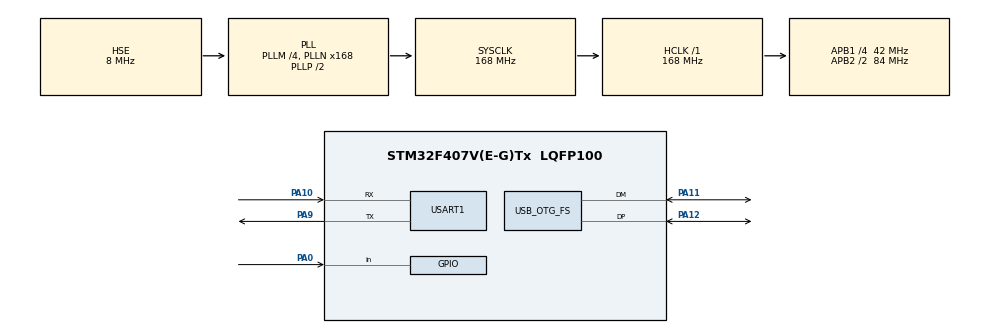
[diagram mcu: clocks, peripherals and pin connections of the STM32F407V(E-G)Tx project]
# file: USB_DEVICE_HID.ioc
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Mcu.Family=STM32F4
Mcu.Name=STM32F407V(E-G)Tx
Mcu.Package=LQFP100
NVIC.OTG_FS_IRQn=true\:0\:0\:false\:false\:true\:true\:true\:true
NVIC.PriorityGroup=NVIC_PRIORITYGROUP_4
PA0-WKUP.Signal=GPIO_Input
PA10.Mode=Asynchronous
PA10.Signal=USART1_RX
PA11.Mode=Device_Only
PA11.Signal=USB_OTG_FS_DM
PA12.Mode=Device_Only
PA12.Signal=USB_OTG_FS_DP
PA9.Mode=Asynchronous
PA9.Signal=USART1_TX
PH0-OSC_IN.Mode=HSE-External-Oscillator
PH0-OSC_IN.Signal=RCC_OSC_IN
PH1-OSC_OUT.Mode=HSE-External-Oscillator
PH1-OSC_OUT.Signal=RCC_OSC_OUT
ProjectManager.HeapSize=0x200
ProjectManager.StackSize=0x400
ProjectManager.TargetToolchain=MDK-ARM V5
RCC.48MHZClocksFreq_Value=48000000
RCC.AHBFreq_Value=168000000
RCC.APB1CLKDivider=RCC_HCLK_DIV4
RCC.APB1Freq_Value=42000000
RCC.APB1TimFreq_Value=84000000
RCC.APB2CLKDivider=RCC_HCLK_DIV2
RCC.APB2Freq_Value=84000000
RCC.APB2TimFreq_Value=168000000
RCC.CortexFreq_Value=168000000
RCC.HCLKFreq_Value=168000000
RCC.HSE_VALUE=8000000
RCC.HSI_VALUE=16000000
RCC.LSE_VALUE=32768
RCC.PLLM=4
RCC.PLLN=168
RCC.PLLQ=7
RCC.SYSCLKFreq_VALUE=168000000
RCC.SYSCLKSource=RCC_SYSCLKSOURCE_PLLCLK
RCC.VCOOutputFreq_Value=336000000
USART1.VirtualMode=VM_ASYNC
USB_DEVICE.CLASS_NAME-HID_FS=HID
USB_DEVICE.CLASS_NAME_FS=HID
USB_DEVICE.USBD_DEBUG_LEVEL-HID_FS=2
USB_DEVICE.USBD_HandleTypeDef-HID_FS=hUsbDeviceFS
USB_DEVICE.VirtualMode-HID_FS=Hid
USB_DEVICE.VirtualModeFS=Hid_FS
USB_OTG_FS.VirtualMode=Device_Only
VP_USB_DEVICE_VS_USB_DEVICE_HID_FS.Mode=HID_FS
board=USB_DEVICE_HID

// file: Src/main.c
/* USER CODE BEGIN Header */
/**
  ******************************************************************************
  * @file           : main.c
  * @brief          : Main program body
  ******************************************************************************
  * @attention
  *
  * Copyright (c) 2023 STMicroelectronics.
  * All rights reserved.
  *
  * This software is licensed under terms that can be found in the LICENSE file
  * in the root directory of this software component.
  * If no LICENSE file comes with this software, it is provided AS-IS.
  *
  ******************************************************************************
  */
/* USER CODE END Header */
#include "main.h"
#include "usb_device.h"

/* USER CODE BEGIN Includes */
#include "main.h"
#include "usbd_hid.h"
/* USER CODE END Includes */

UART_HandleTypeDef huart1;

/* USER CODE BEGIN PV */
/* Private variables ---------------------------------------------------------*/
#define CURSOR_STEP	1
extern USBD_HandleTypeDef hUsbDeviceFS;
uint8_t HID_Buffer[4];
/* USER CODE END PV */

void SystemClock_Config(void);
static void MX_GPIO_Init(void);
static void MX_USART1_UART_Init(void);
/* USER CODE BEGIN PFP */
/* Private function prototypes -----------------------------------------------*/

/* USER CODE END PFP */

/* USER CODE BEGIN 0 */
static void GetPointerData(uint8_t*pbuf)
{
	static uint8_t cnt=0; //счетчик циклов
	static uint8_t drct=0;//направление курсора
	int8_t x=0,y=0,but=0;
	if((cnt<20)&&(drct==0))
	{
		x=CURSOR_STEP;
		y=CURSOR_STEP;
		cnt++;
	}
	else if (cnt>0)
	{
		drct=1;
		x=-CURSOR_STEP;
		y=-CURSOR_STEP;
		cnt--;
	}
	else drct=0;
	if(HAL_GPIO_ReadPin(GPIOA,GPIO_PIN_0)==GPIO_PIN_SET)
	{
		but=2;
	}
	else but=0;
	pbuf[0]=but;
	pbuf[1]=x;
	pbuf[2]=y;
	pbuf[3]=0;
}
/* USER CODE END 0 */

int main(void)
{

  /* MCU Configuration--------------------------------------------------------*/

  /* Reset of all peripherals, Initializes the Flash interface and the Systick. */
  HAL_Init();

  /* Configure the system clock */
  SystemClock_Config();

  /* Initialize all configured peripherals */
  MX_GPIO_Init();
  MX_USB_DEVICE_Init();
  MX_USART1_UART_Init();

  /* Infinite loop */
  /* USER CODE BEGIN WHILE */
  while (1)
  {
		HAL_Delay(100);
		GetPointerData(HID_Buffer);
		USBD_HID_SendReport(&hUsbDeviceFS,HID_Buffer,4);
    /* USER CODE END WHILE */

  }
}

void SystemClock_Config(void)
{
  RCC_OscInitTypeDef RCC_OscInitStruct = {0};
  RCC_ClkInitTypeDef RCC_ClkInitStruct = {0};

  /** Configure the main internal regulator output voltage
  */
  __HAL_RCC_PWR_CLK_ENABLE();
  __HAL_PWR_VOLTAGESCALING_CONFIG(PWR_REGULATOR_VOLTAGE_SCALE1);

  /** Initializes the RCC Oscillators according to the specified parameters
  * in the RCC_OscInitTypeDef structure.
  */
  RCC_OscInitStruct.OscillatorType = RCC_OSCILLATORTYPE_HSE;
  RCC_OscInitStruct.HSEState = RCC_HSE_ON;
  RCC_OscInitStruct.PLL.PLLState = RCC_PLL_ON;
  RCC_OscInitStruct.PLL.PLLSource = RCC_PLLSOURCE_HSE;
  RCC_OscInitStruct.PLL.PLLM = 4;
  RCC_OscInitStruct.PLL.PLLN = 168;
  RCC_OscInitStruct.PLL.PLLP = RCC_PLLP_DIV2;
  RCC_OscInitStruct.PLL.PLLQ = 7;
  if (HAL_RCC_OscConfig(&RCC_OscInitStruct) != HAL_OK)
  {
    Error_Handler();
  }

  /** Initializes the CPU, AHB and APB buses clocks
  */
  RCC_ClkInitStruct.ClockType = RCC_CLOCKTYPE_HCLK|RCC_CLOCKTYPE_SYSCLK
                              |RCC_CLOCKTYPE_PCLK1|RCC_CLOCKTYPE_PCLK2;
  RCC_ClkInitStruct.SYSCLKSource = RCC_SYSCLKSOURCE_PLLCLK;
  RCC_ClkInitStruct.AHBCLKDivider = RCC_SYSCLK_DIV1;
  RCC_ClkInitStruct.APB1CLKDivider = RCC_HCLK_DIV4;
  RCC_ClkInitStruct.APB2CLKDivider = RCC_HCLK_DIV2;

  if (HAL_RCC_ClockConfig(&RCC_ClkInitStruct, FLASH_LATENCY_5) != HAL_OK)
  {
    Error_Handler();
  }
}

static void MX_USART1_UART_Init(void)
{

  huart1.Instance = USART1;
  huart1.Init.BaudRate = 115200;
  huart1.Init.WordLength = UART_WORDLENGTH_8B;
  huart1.Init.StopBits = UART_STOPBITS_1;
  huart1.Init.Parity = UART_PARITY_NONE;
  huart1.Init.Mode = UART_MODE_TX_RX;
  huart1.Init.HwFlowCtl = UART_HWCONTROL_NONE;
  huart1.Init.OverSampling = UART_OVERSAMPLING_16;
  if (HAL_UART_Init(&huart1) != HAL_OK)
  {
    Error_Handler();
  }

}

static void MX_GPIO_Init(void)
{
  GPIO_InitTypeDef GPIO_InitStruct = {0};

  /* GPIO Ports Clock Enable */
  __HAL_RCC_GPIOH_CLK_ENABLE();
  __HAL_RCC_GPIOA_CLK_ENABLE();

  /*Configure GPIO pin : PA0 */
  GPIO_InitStruct.Pin = GPIO_PIN_0;
  GPIO_InitStruct.Mode = GPIO_MODE_INPUT;
  GPIO_InitStruct.Pull = GPIO_NOPULL;
  HAL_GPIO_Init(GPIOA, &GPIO_InitStruct);

}

void Error_Handler(void)
{
  __disable_irq();
  while (1)
  {
  }
}
